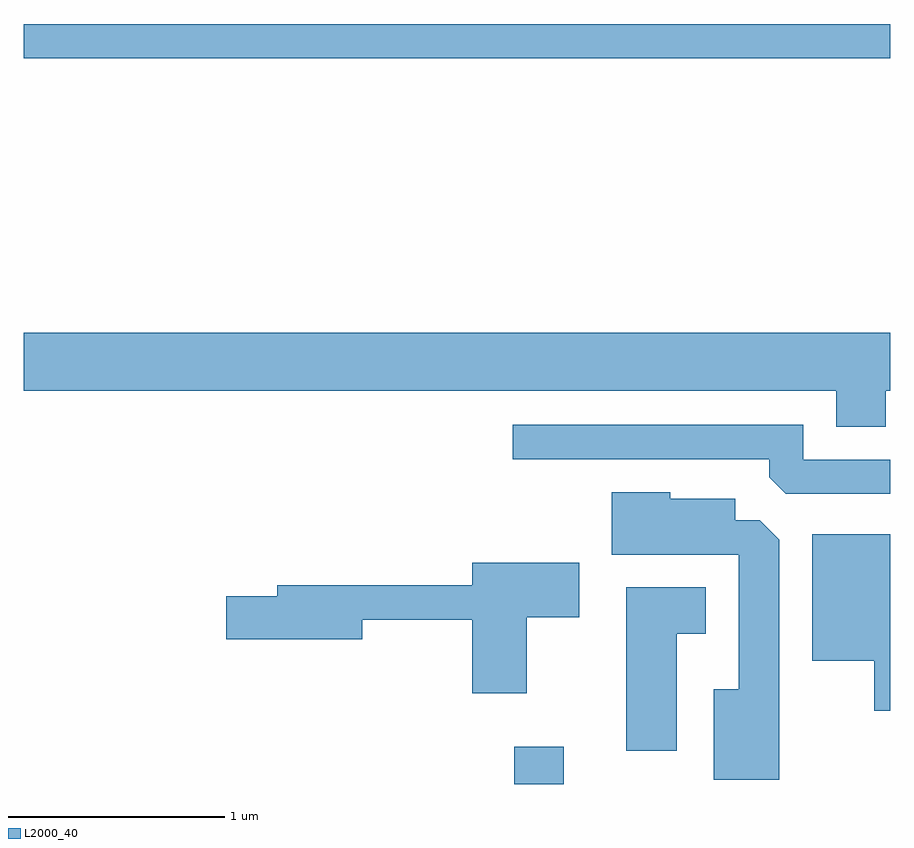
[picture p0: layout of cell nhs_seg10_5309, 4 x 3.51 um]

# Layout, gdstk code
import gdstk
lib = gdstk.Library(unit=1e-6, precision=1e-09)
def R(c, l, rs):  # rectangles x0, y0, x1, y1
    for r in rs: c.add(gdstk.rectangle(r[:2], r[2:], *l))
def P(c, l, *ps):  # polygons
    for p in ps: c.add(gdstk.Polygon(p, *l))
L2000_40 = (2000, 40)

nhs_seg10_5309 = lib.new_cell('nhs_seg10_5309')
R(nhs_seg10_5309, L2000_40, [(343.876,2136.522,344.104,2136.694), (341.611,2139.871,345.611,2140.029)])
P(nhs_seg10_5309, L2000_40, [(345.589,2138.336),(345.611,2138.336),(345.611,2138.604),(341.611,2138.604),(341.611,2138.336),(345.361,2138.336),(345.361,2138.171),(345.589,2138.171)],
  [(345.611,2138.019),(345.209,2138.019),(345.209,2138.179),(343.868,2138.179),(343.868,2138.021),(345.051,2138.021),(345.051,2137.937),(345.127,2137.861),(345.611,2137.861)],
  [(345.099,2137.649),(345.009,2137.739),(344.894,2137.739),(344.894,2137.839),(344.594,2137.839),(344.594,2137.869),(344.326,2137.869),(344.326,2137.581),(344.911,2137.581),(344.911,2136.959),(344.796,2136.959),(344.796,2136.541),(345.099,2136.541)],
  [(345.611,2137.674),(345.251,2137.674),(345.251,2137.091),(345.536,2137.091),(345.536,2136.861),(345.611,2136.861)],
  [(343.934,2137.291),(344.174,2137.291),(344.174,2137.544),(343.681,2137.544),(343.681,2137.439),(342.781,2137.439),(342.781,2137.389),(342.546,2137.389),(342.546,2137.191),(343.174,2137.191),(343.174,2137.281),(343.681,2137.281),(343.681,2136.941),(343.934,2136.941)],
  [(344.624,2137.216),(344.759,2137.216),(344.759,2137.429),(344.391,2137.429),(344.391,2136.676),(344.624,2136.676)])

lib.write_gds('nhs_seg10_5309.gds')
